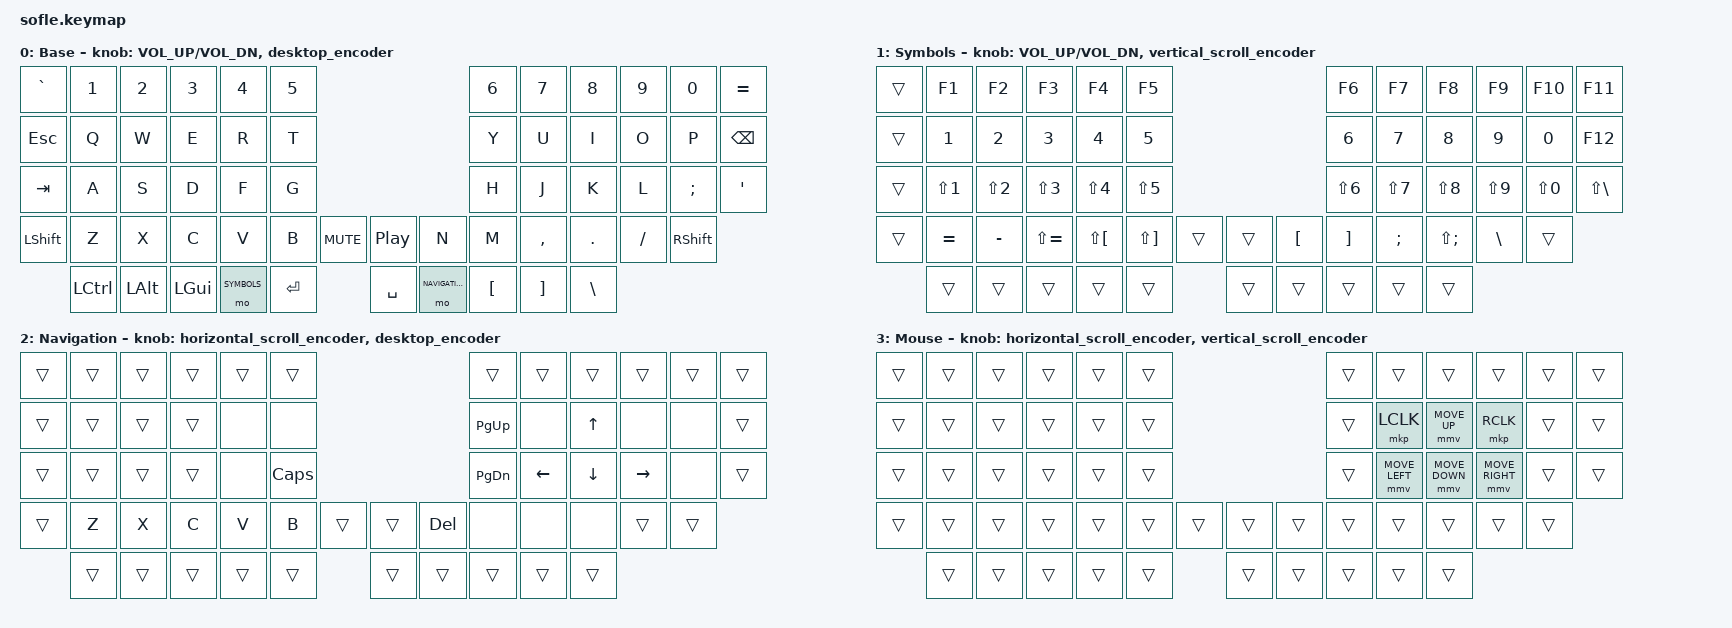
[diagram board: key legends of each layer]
/* Sofle ZMK: 0 base, 1 symbols, 2 navigation, 3 mouse (both thumbs). */
#include <behaviors.dtsi>
#include <dt-bindings/zmk/keys.h>
#define ZMK_POINTING_DEFAULT_MOVE_VAL 900
#define ZMK_POINTING_DEFAULT_SCRL_VAL 45
#include <dt-bindings/zmk/pointing.h>

#define BASE 0
#define SYMBOLS 1
#define NAVIGATION 2
#define MOUSE 3

/ {
    conditional_layers {
        compatible = "zmk,conditional-layers";
        mouse_on_both_thumbs {
            if-layers = <SYMBOLS NAVIGATION>;
            then-layer = <MOUSE>;
        };
    };

    behaviors {
        // macOS Mission Control: switch Spaces.
        desktop_encoder: desktop_encoder {
            compatible = "zmk,behavior-sensor-rotate";
            #sensor-binding-cells = <0>;
            bindings = <&kp LC(RIGHT)>, <&kp LC(LEFT)>;
        };

        vertical_scroll_encoder: vertical_scroll_encoder {
            compatible = "zmk,behavior-sensor-rotate";
            #sensor-binding-cells = <0>;
            tap-ms = <100>;
            bindings = <&msc SCRL_DOWN>, <&msc SCRL_UP>;
        };

        horizontal_scroll_encoder: horizontal_scroll_encoder {
            compatible = "zmk,behavior-sensor-rotate";
            #sensor-binding-cells = <0>;
            tap-ms = <100>;
            bindings = <&msc SCRL_RIGHT>, <&msc SCRL_LEFT>;
        };
    };

    keymap {
        compatible = "zmk,keymap";

        base_layer {
            display-name = "Base";
            // 6 left keys, 6 right keys; rows 0-2.
            // Row 3 has two encoder pushes, and the thumbs have five keys per side.
            bindings = <
                &kp GRAVE  &kp N1    &kp N2    &kp N3    &kp N4   &kp N5                       &kp N6    &kp N7     &kp N8     &kp N9    &kp N0   &kp EQUAL
                &kp ESC    &kp Q     &kp W     &kp E     &kp R    &kp T                        &kp Y     &kp U      &kp I      &kp O     &kp P    &kp BSPC
                &kp TAB    &kp A     &kp S     &kp D     &kp F    &kp G                        &kp H     &kp J      &kp K      &kp L     &kp SEMI &kp SQT
                &kp LSHFT  &kp Z     &kp X     &kp C     &kp V    &kp B  &kp C_MUTE  &kp C_PP  &kp N  &kp M &kp COMMA &kp DOT &kp FSLH &kp RSHFT
                           &kp LCTRL &kp LALT &kp LGUI &mo SYMBOLS &kp RET     &kp SPACE &mo NAVIGATION &kp LBKT &kp RBKT &kp BSLH
            >;
            sensor-bindings = <&inc_dec_kp C_VOL_UP C_VOL_DN &desktop_encoder>;
        };

        symbols_layer {
            display-name = "Symbols";
            bindings = <
                &trans &kp F1    &kp F2    &kp F3    &kp F4    &kp F5                    &kp F6    &kp F7     &kp F8      &kp F9      &kp F10   &kp F11
                &trans &kp N1    &kp N2    &kp N3    &kp N4    &kp N5                    &kp N6    &kp N7     &kp N8      &kp N9      &kp N0    &kp F12
                &trans &kp LS(N1) &kp LS(N2) &kp LS(N3) &kp LS(N4) &kp LS(N5)           &kp LS(N6) &kp LS(N7) &kp LS(N8) &kp LS(N9) &kp LS(N0) &kp LS(BSLH)
                &trans &kp EQUAL &kp MINUS &kp LS(EQUAL) &kp LS(LBKT) &kp LS(RBKT) &trans &trans &kp LBKT &kp RBKT &kp SEMI &kp LS(SEMI) &kp BSLH &trans
                       &trans &trans &trans &trans &trans &trans &trans &trans &trans &trans
            >;
            sensor-bindings = <&inc_dec_kp C_VOL_UP C_VOL_DN &vertical_scroll_encoder>;
        };

        navigation_layer {
            display-name = "Navigation";
            bindings = <
                &trans &trans &trans &trans &trans &trans      &trans &trans &trans &trans &trans &trans
                &trans &trans &trans &trans &none &none         &kp PG_UP &none &kp UP &none &none &trans
                &trans &trans &trans &trans &none &kp CAPS      &kp PG_DN &kp LEFT &kp DOWN &kp RIGHT &none &trans
                &trans &kp Z &kp X &kp C &kp V &kp B &trans &trans   &kp DEL &none &none &none &trans &trans
                       &trans &trans &trans &trans &trans &trans &trans &trans &trans &trans
            >;
            sensor-bindings = <&horizontal_scroll_encoder &desktop_encoder>;
        };

        mouse_layer {
            display-name = "Mouse";
            bindings = <
                &trans &trans &trans &trans &trans &trans      &trans &trans &trans &trans &trans &trans
                &trans &trans &trans &trans &trans &trans  &trans &mkp LCLK &mmv MOVE_UP &mkp RCLK &trans &trans
                &trans &trans &trans &trans &trans &trans        &trans &mmv MOVE_LEFT &mmv MOVE_DOWN &mmv MOVE_RIGHT &trans &trans
                &trans &trans &trans &trans &trans &trans &trans &trans   &trans &trans &trans &trans &trans &trans
                       &trans &trans &trans &trans &trans &trans &trans &trans &trans &trans
            >;
            sensor-bindings = <&horizontal_scroll_encoder &vertical_scroll_encoder>;
        };

    };
};

// Gradual mouse acceleration while a direction is held.
&mmv {
    time-to-max-speed-ms = <400>;
    acceleration-exponent = <1>;
};
